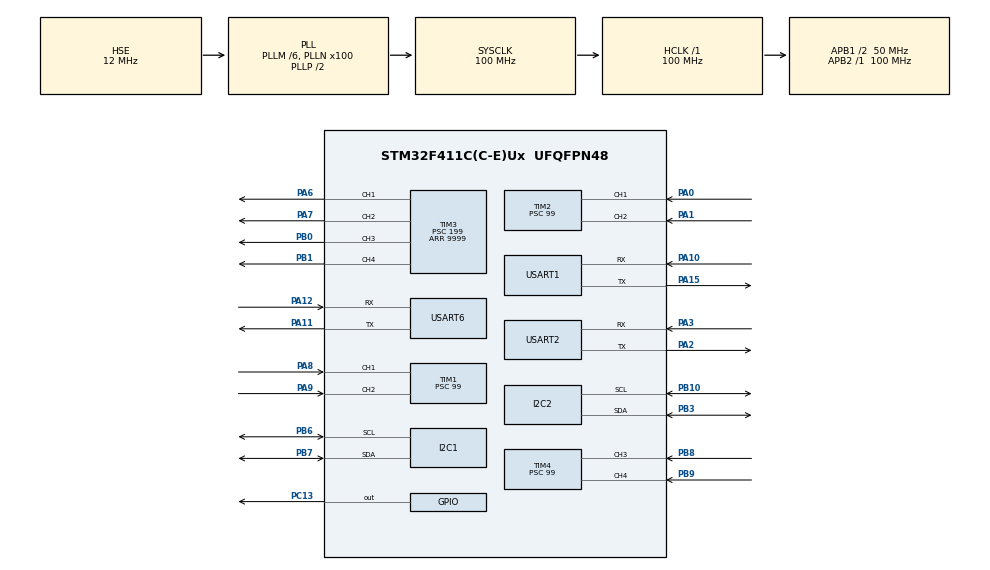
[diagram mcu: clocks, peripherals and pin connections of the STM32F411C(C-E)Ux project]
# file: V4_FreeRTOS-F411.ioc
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FREERTOS.INCLUDE_pcTaskGetTaskName=1
FREERTOS.Mutexes01=GY86Mutex,Static,GY86MutexControlBlock;ReceiverMutex,Static,ReceiverMutexControlBlock
FREERTOS.Tasks01=defaultTask,24,128,StartDefaultTask,Default,NULL,Dynamic,NULL,NULL
FREERTOS.configENABLE_FPU=1
I2C1.I2C_Mode=I2C_Fast
I2C2.I2C_Mode=I2C_Fast
Mcu.Family=STM32F4
Mcu.Name=STM32F411C(C-E)Ux
Mcu.Package=UFQFPN48
NVIC.PriorityGroup=NVIC_PRIORITYGROUP_4
NVIC.TIM1_CC_IRQn=true\:5\:0\:false\:false\:true\:true\:true\:true
NVIC.TIM1_UP_TIM10_IRQn=true\:0\:0\:false\:false\:true\:false\:false\:true
NVIC.TIM2_IRQn=true\:5\:0\:false\:false\:true\:true\:true\:true
NVIC.TIM4_IRQn=true\:5\:0\:false\:false\:true\:true\:true\:true
NVIC.TimeBase=TIM1_UP_TIM10_IRQn
NVIC.TimeBaseIP=TIM10
NVIC.USART1_IRQn=true\:8\:0\:true\:false\:true\:true\:true\:true
NVIC.USART2_IRQn=true\:7\:0\:true\:false\:true\:true\:true\:true
NVIC.USART6_IRQn=true\:6\:0\:true\:false\:true\:true\:true\:true
PA0-WKUP.Signal=S_TIM2_CH1_ETR
PA1.Signal=S_TIM2_CH2
PA10.Mode=Asynchronous
PA10.Signal=USART1_RX
PA11.Mode=Asynchronous
PA11.Signal=USART6_TX
PA12.Mode=Asynchronous
PA12.Signal=USART6_RX
PA13.Mode=Serial_Wire
PA13.Signal=SYS_JTMS-SWDIO
PA14.Mode=Serial_Wire
PA14.Signal=SYS_JTCK-SWCLK
PA15.Mode=Asynchronous
PA15.Signal=USART1_TX
PA2.Mode=Asynchronous
PA2.Signal=USART2_TX
PA3.Mode=Asynchronous
PA3.Signal=USART2_RX
PA6.Signal=S_TIM3_CH1
PA7.Signal=S_TIM3_CH2
PA8.Signal=S_TIM1_CH1
PA9.Signal=S_TIM1_CH2
PB0.Signal=S_TIM3_CH3
PB1.Signal=S_TIM3_CH4
PB10.GPIO_Pu=GPIO_PULLUP
PB10.Mode=I2C
PB10.Signal=I2C2_SCL
PB3.GPIO_Pu=GPIO_PULLUP
PB3.Mode=I2C
PB3.Signal=I2C2_SDA
PB6.GPIO_Pu=GPIO_PULLUP
PB6.Mode=I2C
PB6.Signal=I2C1_SCL
PB7.GPIO_Pu=GPIO_PULLUP
PB7.Mode=I2C
PB7.Signal=I2C1_SDA
PB8.Signal=S_TIM4_CH3
PB9.Signal=S_TIM4_CH4
PC13-ANTI_TAMP.Signal=GPIO_Output
PC14-OSC32_IN.Mode=LSE-External-Oscillator
PC14-OSC32_IN.Signal=RCC_OSC32_IN
PC15-OSC32_OUT.Mode=LSE-External-Oscillator
PC15-OSC32_OUT.Signal=RCC_OSC32_OUT
PH0\ -\ OSC_IN.Mode=HSE-External-Oscillator
PH0\ -\ OSC_IN.Signal=RCC_OSC_IN
PH1\ -\ OSC_OUT.Mode=HSE-External-Oscillator
PH1\ -\ OSC_OUT.Signal=RCC_OSC_OUT
ProjectManager.HeapSize=0x200
ProjectManager.StackSize=0x400
ProjectManager.TargetToolchain=MDK-ARM V5.27
RCC.48MHZClocksFreq_Value=50000000
RCC.AHBFreq_Value=100000000
RCC.APB1CLKDivider=RCC_HCLK_DIV2
RCC.APB1Freq_Value=50000000
RCC.APB1TimFreq_Value=100000000
RCC.APB2Freq_Value=100000000
RCC.APB2TimFreq_Value=100000000
RCC.CortexFreq_Value=100000000
RCC.HCLKFreq_Value=100000000
RCC.HSE_VALUE=12000000
RCC.HSI_VALUE=16000000
RCC.PLLM=6
RCC.PLLN=100
RCC.PLLSourceVirtual=RCC_PLLSOURCE_HSE
RCC.SYSCLKFreq_VALUE=100000000
RCC.SYSCLKSource=RCC_SYSCLKSOURCE_PLLCLK
RCC.VCOOutputFreq_Value=200000000
SH.S_TIM1_CH1.0=TIM1_CH1,Input_Capture1_from_TI1
SH.S_TIM1_CH2.0=TIM1_CH2,Input_Capture2_from_TI2
SH.S_TIM2_CH1_ETR.0=TIM2_CH1,Input_Capture1_from_TI1
SH.S_TIM2_CH2.0=TIM2_CH2,Input_Capture2_from_TI2
SH.S_TIM3_CH1.0=TIM3_CH1,PWM Generation1 CH1
SH.S_TIM3_CH2.0=TIM3_CH2,PWM Generation2 CH2
SH.S_TIM3_CH3.0=TIM3_CH3,PWM Generation3 CH3
SH.S_TIM3_CH4.0=TIM3_CH4,PWM Generation4 CH4
SH.S_TIM4_CH3.0=TIM4_CH3,Input_Capture3_from_TI3
SH.S_TIM4_CH4.0=TIM4_CH4,Input_Capture4_from_TI4
TIM1.Channel-Input_Capture1_from_TI1=TIM_CHANNEL_1
TIM1.Channel-Input_Capture2_from_TI2=TIM_CHANNEL_2
TIM1.Prescaler=99
TIM2.Channel-Input_Capture1_from_TI1=TIM_CHANNEL_1
TIM2.Channel-Input_Capture2_from_TI2=TIM_CHANNEL_2
TIM2.Prescaler=99
TIM3.Channel-PWM\ Generation1\ CH1=TIM_CHANNEL_1
TIM3.Channel-PWM\ Generation2\ CH2=TIM_CHANNEL_2
TIM3.Channel-PWM\ Generation3\ CH3=TIM_CHANNEL_3
TIM3.Channel-PWM\ Generation4\ CH4=TIM_CHANNEL_4
TIM3.Period=9999
TIM3.Prescaler=199
TIM4.Channel-Input_Capture3_from_TI3=TIM_CHANNEL_3
TIM4.Channel-Input_Capture4_from_TI4=TIM_CHANNEL_4
TIM4.Prescaler=99
USART1.VirtualMode=VM_ASYNC
USART2.VirtualMode=VM_ASYNC
USART6.VirtualMode=VM_ASYNC
VP_FREERTOS_VS_CMSIS_V2.Mode=CMSIS_V2
VP_SYS_VS_tim10.Mode=TIM10
board=custom

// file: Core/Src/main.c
/* USER CODE BEGIN Header */
/**
  ******************************************************************************
  * @file           : main.c
  * @brief          : Main program body
  ******************************************************************************
  * @attention
  *
  * <h2><center>&copy; Copyright (c) 2021 STMicroelectronics.
  * All rights reserved.</center></h2>
  *
  * This software component is licensed by ST under Ultimate Liberty license
  * SLA0044, the "License"; You may not use this file except in compliance with
  * the License. You may obtain a copy of the License at:
  *                             www.st.com/SLA0044
  *
  ******************************************************************************
  */
/* USER CODE END Header */
#include "main.h"
#include "cmsis_os.h"
#include "i2c.h"
#include "tim.h"
#include "usart.h"
#include "gpio.h"

/* USER CODE BEGIN Includes */
#include "semphr.h"
//#include "timers.h"
/* USER CODE END Includes */

/* USER CODE BEGIN PV */
extern Angle_t angle;
extern osMutexId_t GY86MutexHandle;
extern float Duty[6]; //接收机各通道PWM占空比
extern int isLock;
extern float motor1, motor2, motor3, motor4; //四个电机速度
extern uint8_t *UART1_temp;
extern uint32_t pidT;//调节周期
extern float halfT; //采样周期
extern float PT2Dt; //采样周期
/* USER CODE END PV */

void SystemClock_Config(void);
void MX_FREERTOS_Init(void);

/* USER CODE BEGIN 0 */
void system_init(void);

#define Task_Angel_PRIO 6
#define Task_Angel_SIZE 256
TaskHandle_t Task_AngelHandler;
void Task_AngelFunction(void *argument)
{
	static uint32_t startTA, endTA, pt2StartT, pt2EndT;
  while (1)
  {
    pt2EndT = xTaskGetTickCount();
    PT2Dt = (pt2EndT - pt2StartT)/1000.0f;//单位转换为s
    GY86_RawDataUpdate();
    pt2StartT = xTaskGetTickCount();
		endTA = xTaskGetTickCount();
		halfT = (endTA - startTA)/2000.0f;//单位转换为s
    xSemaphoreTake(GY86MutexHandle, portMAX_DELAY);
    Attitude_Update(GY86->Gyro->data->Gyro_ds.x * ANGLE_TO_RAD, GY86->Gyro->data->Gyro_ds.y * ANGLE_TO_RAD, GY86->Gyro->data->Gyro_ds.z * ANGLE_TO_RAD, GY86->Accel->data->Accel_ms2.x, GY86->Accel->data->Accel_ms2.y, GY86->Accel->data->Accel_ms2.z,
                   GY86->Mag->data->Mag_raw.x, GY86->Mag->data->Mag_raw.y, GY86->Mag->data->Mag_raw.z);
    xSemaphoreGive(GY86MutexHandle);
		startTA = xTaskGetTickCount();
    vTaskDelay(2);
  }
}

#define Task_Hight_PRIO 7
#define Task_Hight_SIZE 256
TaskHandle_t Task_HightHandler;
void Task_HightFunction(void *argument)
{
  ;
}

#define Task_PID_PRIO 8
#define Task_PID_SIZE 256
TaskHandle_t Task_PIDHandler;
void Task_PIDFunction(void *argument)
{
  static uint32_t startT, endT;
  while (1)
  {
    Motor_Exp_Calc(); //计算遥控器期望值
    endT = xTaskGetTickCount();
    xSemaphoreTake(GY86MutexHandle, portMAX_DELAY);
    pidT = endT - startT;
    Motor_Calc(); // 计算PID以及要输出的电机速度
    xSemaphoreGive(GY86MutexHandle);
    startT = xTaskGetTickCount();
    // 输出电机速度
    if (!isLock)
    {
      Motor_Set(motor1, TIM_CHANNEL_1);
      Motor_Set(motor2, TIM_CHANNEL_2);
      Motor_Set(motor3, TIM_CHANNEL_3);
      Motor_Set(motor4, TIM_CHANNEL_4);
    }
    else
    {
      Motor_Set(0, TIM_CHANNEL_1);
      Motor_Set(0, TIM_CHANNEL_2);
      Motor_Set(0, TIM_CHANNEL_3);
      Motor_Set(0, TIM_CHANNEL_4);
    }
    vTaskDelay(2);
  }
}

#define Task_ANO_PRIO 10
#define Task_ANO_SIZE 256
TaskHandle_t Task_ANOHandler;
void Task_ANOFunction(void *argument)
{
  short roll, pitch, yaw;
  short Accel_x, Accel_y, Accel_z, Gyro_x, Gyro_y, Gyro_z;
  while (1)
  {
    xSemaphoreTake(GY86MutexHandle, portMAX_DELAY);
    roll = angle.roll * 100;
    pitch = angle.pitch * 100;
    yaw = angle.yaw * 100;
    Accel_x = (GY86->Accel->data->Accel_raw.x - GY86->Accel->data->Accel_offset.x) * GY86->Accel->data->Accel_scale.x / ACCEL_2G;
    Accel_y = (GY86->Accel->data->Accel_raw.y - GY86->Accel->data->Accel_offset.y) * GY86->Accel->data->Accel_scale.y / ACCEL_2G;
    Accel_z = (GY86->Accel->data->Accel_raw.z - GY86->Accel->data->Accel_offset.z) * GY86->Accel->data->Accel_scale.z / ACCEL_2G;
    Gyro_x = (GY86->Gyro->data->Gyro_raw.x - GY86->Gyro->data->Gyro_offset.x) * GY86->Gyro->data->Gyro_scale.x / GYRO_250DPS;
    Gyro_y = (GY86->Gyro->data->Gyro_raw.y - GY86->Gyro->data->Gyro_offset.y) * GY86->Gyro->data->Gyro_scale.y / GYRO_250DPS;
    Gyro_z = (GY86->Gyro->data->Gyro_raw.z - GY86->Gyro->data->Gyro_offset.z) * GY86->Gyro->data->Gyro_scale.z / GYRO_250DPS;
    xSemaphoreGive(GY86MutexHandle);
    //datafusion
    ANO_Angle_Transform(roll, pitch, yaw);
    //RC
    ANO_RC_Transform((short)(Duty[0]*100.0f), (short)(Duty[1]*100.0f), (short)(Duty[2]*100.0f), (short)(Duty[3]*100.0f), (short)(Duty[4]*100.0f), (short)(Duty[5]*100.0f));
		//Motor
		ANO_MotorOut(motor1, motor2, motor3, motor4);
    //GY_86
    ANO_GY86_RAW(GY86->Accel->data->Accel_ms2.x, Accel_x, GY86->Accel->data->Accel_ms2.z, GY86->Gyro->data->Gyro_ds.x, GY86->Gyro->data->Gyro_ds.y, GY86->Gyro->data->Gyro_ds.z);
    vTaskDelay(10);
  }
}

#define Task_OLED_PRIO 11
#define Task_OLED_SIZE 256
TaskHandle_t Task_OLEDHandler;
void Task_OLEDFunction(void *argument)
{
  static short Gx, Gy, Gz, Ax, Ay, Az, yaw, pitch, roll, temp;
  while (1)
  {
    xSemaphoreTake(GY86MutexHandle, portMAX_DELAY);
    Gx = GY86->Gyro->data->Gyro_ds.x;
    Gy = GY86->Gyro->data->Gyro_ds.y;
    Gz = GY86->Gyro->data->Gyro_ds.z;

    Ax = GY86->Accel->data->Accel_ms2.x;
    Ay = GY86->Accel->data->Accel_ms2.y;
    Az = GY86->Accel->data->Accel_ms2.z;

    temp = GY86->MS->Temperature;

    roll = angle.roll;
    pitch = angle.pitch;
    yaw = angle.yaw;
    xSemaphoreGive(GY86MutexHandle);
    OLED_Show_3num(Gx, Gy, Gz, 0);
    OLED_Show_3num(Ax, Ay, Az, 1);
    OLED_Show_3num(pitch, roll, yaw, 2);
    OLED_Show_3num(Duty[0] * 100, Duty[1] * 100, Duty[2] * 100, 3);
    OLED_Show_3num(Duty[3] * 100, Duty[4] * 100, Duty[5] * 100, 4);
    OLED_Show_2num((short)motor1, (short)motor2, 5);
    OLED_Show_2num((short)motor3, (short)motor4, 6);
    OLED_ShowNum(24, 7, temp, 2, 12);
    vTaskDelay(200);
  }
}
void Task_ExtSensorFunction(void *argument)
{
  ;
}
/* USER CODE END 0 */

int main(void)
{

  /* MCU Configuration--------------------------------------------------------*/

  /* Reset of all peripherals, Initializes the Flash interface and the Systick. */
  HAL_Init();

  /* Configure the system clock */
  SystemClock_Config();

  /* Initialize all configured peripherals */
  MX_GPIO_Init();
  MX_I2C1_Init();
  MX_I2C2_Init();
  MX_TIM1_Init();
  MX_TIM2_Init();
  MX_TIM3_Init();
  MX_TIM4_Init();
  MX_USART1_UART_Init();
  MX_USART2_UART_Init();
  MX_USART6_UART_Init();
  /* USER CODE BEGIN 2 */
  GY86 = (GY_86 *)malloc(sizeof(GY_86));
  system_init();
  Quat_Init();
  /* USER CODE END 2 */

  /* Init scheduler */
  osKernelInitialize(); /* Call init function for freertos objects (in freertos.c) */
  MX_FREERTOS_Init();
  /* Start scheduler */
  //osKernelStart();

  /* We should never get here as control is now taken by the scheduler */
  /* Infinite loop */
  /* USER CODE BEGIN WHILE */
  xTaskCreate((TaskFunction_t)Task_AngelFunction,
              (char *)"Angel_Task",
              (uint16_t)Task_Angel_SIZE,
              (void *)NULL,
              (UBaseType_t)Task_Angel_PRIO,
              (TaskHandle_t *)&Task_AngelHandler);

  xTaskCreate((TaskFunction_t)Task_ANOFunction,
              (char *)"ANO_Task",
              (uint16_t)Task_ANO_SIZE,
              (void *)NULL,
              (UBaseType_t)Task_ANO_PRIO,
              (TaskHandle_t *)&Task_ANOHandler);

  xTaskCreate((TaskFunction_t)Task_OLEDFunction,
              (char *)"OLED_Task",
              (uint16_t)Task_OLED_SIZE,
              (void *)NULL,
              (UBaseType_t)Task_OLED_PRIO,
              (TaskHandle_t *)&Task_OLEDHandler);

  xTaskCreate((TaskFunction_t)Task_PIDFunction,
              (char *)"PID_Task",
              (uint16_t)Task_PID_SIZE,
              (void *)NULL,
              (UBaseType_t)Task_PID_PRIO,
              (TaskHandle_t *)&Task_PIDHandler);

  vTaskStartScheduler();

  while (1)
  {
    /* USER CODE END WHILE */

  }
}

void SystemClock_Config(void)
{
  RCC_OscInitTypeDef RCC_OscInitStruct = {0};
  RCC_ClkInitTypeDef RCC_ClkInitStruct = {0};

  /** Configure the main internal regulator output voltage
  */
  __HAL_RCC_PWR_CLK_ENABLE();
  __HAL_PWR_VOLTAGESCALING_CONFIG(PWR_REGULATOR_VOLTAGE_SCALE1);
  /** Initializes the RCC Oscillators according to the specified parameters
  * in the RCC_OscInitTypeDef structure.
  */
  RCC_OscInitStruct.OscillatorType = RCC_OSCILLATORTYPE_HSE;
  RCC_OscInitStruct.HSEState = RCC_HSE_ON;
  RCC_OscInitStruct.PLL.PLLState = RCC_PLL_ON;
  RCC_OscInitStruct.PLL.PLLSource = RCC_PLLSOURCE_HSE;
  RCC_OscInitStruct.PLL.PLLM = 6;
  RCC_OscInitStruct.PLL.PLLN = 100;
  RCC_OscInitStruct.PLL.PLLP = RCC_PLLP_DIV2;
  RCC_OscInitStruct.PLL.PLLQ = 4;
  if (HAL_RCC_OscConfig(&RCC_OscInitStruct) != HAL_OK)
  {
    Error_Handler();
  }
  /** Initializes the CPU, AHB and APB buses clocks
  */
  RCC_ClkInitStruct.ClockType = RCC_CLOCKTYPE_HCLK | RCC_CLOCKTYPE_SYSCLK | RCC_CLOCKTYPE_PCLK1 | RCC_CLOCKTYPE_PCLK2;
  RCC_ClkInitStruct.SYSCLKSource = RCC_SYSCLKSOURCE_PLLCLK;
  RCC_ClkInitStruct.AHBCLKDivider = RCC_SYSCLK_DIV1;
  RCC_ClkInitStruct.APB1CLKDivider = RCC_HCLK_DIV2;
  RCC_ClkInitStruct.APB2CLKDivider = RCC_HCLK_DIV1;

  if (HAL_RCC_ClockConfig(&RCC_ClkInitStruct, FLASH_LATENCY_3) != HAL_OK)
  {
    Error_Handler();
  }
}

/* USER CODE BEGIN 4 */
void system_init(void)
{
  //硬件模块
  //OLED
  OLED_Init();
  OLED_Clear();

  //ESP8266
  // HAL_UART_Receive_IT(&huart1, (uint8_t *)UART1_temp, 1);
  esp8266_init();
  //输出调试信息
  OLED_Clear();
  OLED_ShowString(8, 3, (uint8_t *)"ESP8266_Init OK", 16);
  esp8266_cipsend("ESP8266_Init OK\r\n");
  HAL_Delay(1000);

  //GY-86初始
  GY86_Init();
  //输出调试信息
  OLED_Clear();
  OLED_ShowString(12, 3, (uint8_t *)"GY86_Init OK", 16);
  esp8266_cipsend("GY86_Init OK\r\n");
  HAL_Delay(1000);

  //接收机初始化
  Input_Capture_Init();
  //输出调试信息
  OLED_Clear();
  OLED_ShowString(0, 3, (uint8_t *)"Input_Capture_Init", 16);
  esp8266_cipsend("Input_Capture_Init OK\r\n");
  HAL_Delay(1000);

  //电机
  Motor_Init();
  //输出调试信息
  OLED_Clear();
  OLED_ShowString(12, 3, (uint8_t *)"Motor_Init OK", 16);
  esp8266_cipsend("Motor_Init OK\r\n");
  HAL_Delay(1000);

  //电机自动解锁
  Motor_Init();
  Motor_Unlock();
  //输出调试信息
  OLED_Clear();
  OLED_ShowString(6, 3, (uint8_t *)"Motor_Unlock OK", 16);
  esp8266_cipsend("Motor_Unlock OK\r\n");
  HAL_Delay(1000);

  //PID初始化
  PID_Init();
  //输出调试信息
  OLED_Clear();
  OLED_ShowString(6, 3, (uint8_t *)"PID_Init OK", 16);
  esp8266_cipsend("PID_Init OK\r\n");
  HAL_Delay(1000);

  //OLED图形界面绘制
  OLED_Clear();
  OLED_Draw_interface();
}
/* USER CODE END 4 */

void HAL_TIM_PeriodElapsedCallback(TIM_HandleTypeDef *htim)
{
  if (htim->Instance == TIM10)
  {
    HAL_IncTick();
  }
}

void Error_Handler(void)
{
  __disable_irq();
  while (1)
  {
  }
}

/************************ (C) COPYRIGHT STMicroelectronics *****END OF FILE****/

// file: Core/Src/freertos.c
/* USER CODE BEGIN Header */
/**
  ******************************************************************************
  * File Name          : freertos.c
  * Description        : Code for freertos applications
  ******************************************************************************
  * @attention
  *
  * <h2><center>&copy; Copyright (c) 2021 STMicroelectronics.
  * All rights reserved.</center></h2>
  *
  * This software component is licensed by ST under Ultimate Liberty license
  * SLA0044, the "License"; You may not use this file except in compliance with
  * the License. You may obtain a copy of the License at:
  *                             www.st.com/SLA0044
  *
  ******************************************************************************
  */
/* USER CODE END Header */

#include "FreeRTOS.h"
#include "task.h"
#include "main.h"
#include "cmsis_os.h"

/* Definitions for defaultTask */
osThreadId_t defaultTaskHandle;
const osThreadAttr_t defaultTask_attributes = {
  .name = "defaultTask",
  .stack_size = 128 * 4,
  .priority = (osPriority_t) osPriorityNormal,
};

void StartDefaultTask(void *argument);

void MX_FREERTOS_Init(void); /* (MISRA C 2004 rule 8.1) */

void MX_FREERTOS_Init(void) {

  /* Create the thread(s) */
  /* creation of defaultTask */
  defaultTaskHandle = osThreadNew(StartDefaultTask, NULL, &defaultTask_attributes);

}

void StartDefaultTask(void *argument)
{
  for(;;)
  {
    osDelay(1);
  }
}

/************************ (C) COPYRIGHT STMicroelectronics *****END OF FILE****/
